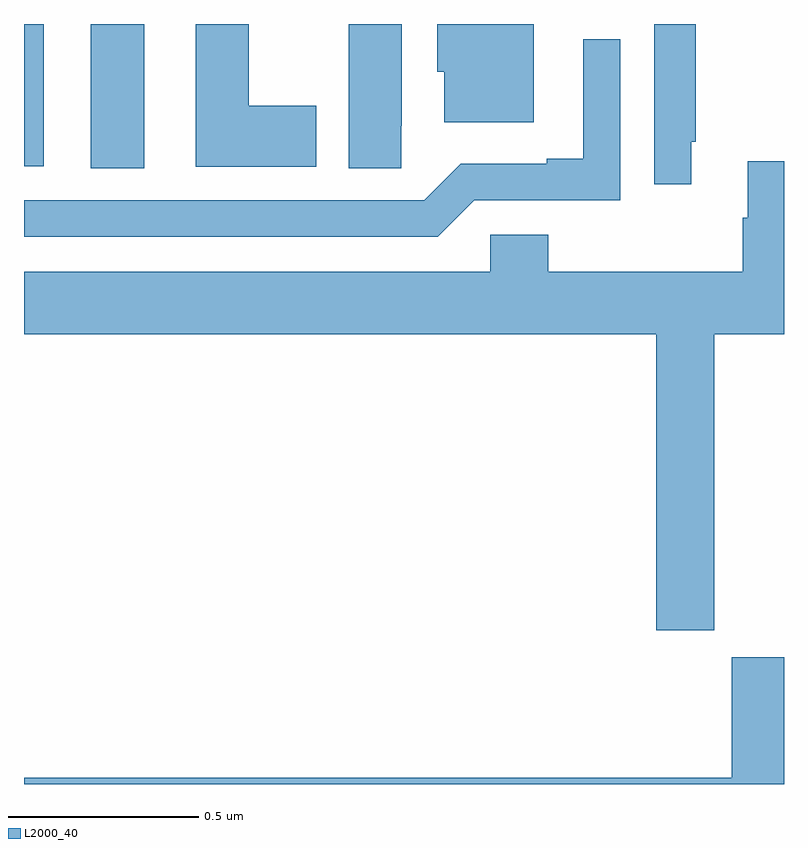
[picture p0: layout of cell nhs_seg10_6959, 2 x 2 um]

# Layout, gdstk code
import gdstk
lib = gdstk.Library(unit=1e-6, precision=1e-09)
def R(c, l, rs):  # rectangles x0, y0, x1, y1
    for r in rs: c.add(gdstk.rectangle(r[:2], r[2:], *l))
def P(c, l, *ps):  # polygons
    for p in ps: c.add(gdstk.Polygon(p, *l))
L2000_40 = (2000, 40)

nhs_seg10_6959 = lib.new_cell('nhs_seg10_6959')
R(nhs_seg10_6959, L2000_40, [(198.176,1266.121,198.316,1266.5), (198,1266.126,198.052,1266.5)])
P(nhs_seg10_6959, L2000_40, [(198.769,1266.285),(198.592,1266.285),(198.592,1266.5),(198.452,1266.5),(198.452,1266.125),(198.769,1266.125)],
  [(199.342,1266.5),(199.088,1266.5),(199.088,1266.375),(199.106,1266.375),(199.106,1266.242),(199.342,1266.242)],
  [(199.756,1266.19),(199.768,1266.19),(199.768,1266.5),(199.659,1266.5),(199.659,1266.078),(199.756,1266.078)],
  [(198.993,1266.232),(198.994,1266.232),(198.994,1266.5),(198.854,1266.5),(198.854,1266.121),(198.993,1266.121)],
  [(199.185,1266.036),(199.569,1266.036),(199.569,1266.46),(199.472,1266.46),(199.472,1266.145),(199.376,1266.145),(199.376,1266.132),(199.149,1266.132),(199.053,1266.036),(198,1266.036),(198,1265.94),(199.089,1265.94)],
  [(199.379,1265.946),(199.227,1265.946),(199.227,1265.848),(198,1265.848),(198,1265.684),(199.664,1265.684),(199.664,1264.905),(199.816,1264.905),(199.816,1265.684),(200,1265.684),(200,1266.139),(199.904,1266.139),(199.904,1265.99),(199.892,1265.99),(199.892,1265.848),(199.379,1265.848)],
  [(200,1264.833),(199.862,1264.833),(199.862,1264.516),(198,1264.516),(198,1264.5),(200,1264.5)])

lib.write_gds('nhs_seg10_6959.gds')
